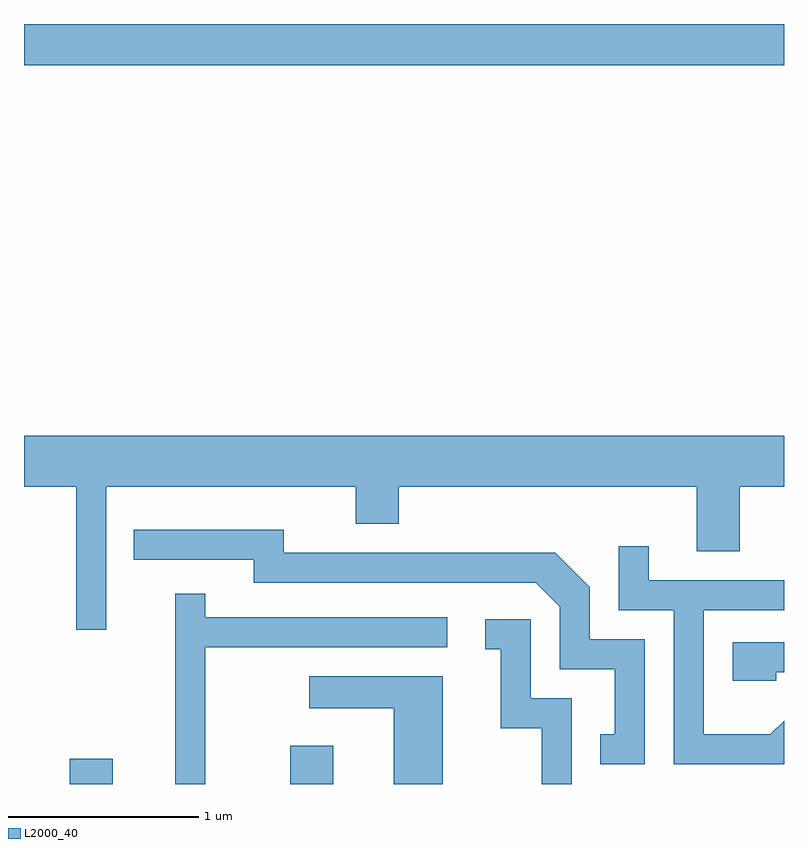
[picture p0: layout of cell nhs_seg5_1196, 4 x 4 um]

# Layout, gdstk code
import gdstk
lib = gdstk.Library(unit=1e-6, precision=1e-09)
def R(c, l, rs):  # rectangles x0, y0, x1, y1
    for r in rs: c.add(gdstk.rectangle(r[:2], r[2:], *l))
def P(c, l, *ps):  # polygons
    for p in ps: c.add(gdstk.Polygon(p, *l))
L2000_40 = (2000, 40)

nhs_seg5_1196 = lib.new_cell('nhs_seg5_1196')
R(nhs_seg5_1196, L2000_40, [(219.851,1504.072,220.079,1504.204), (221.011,1504.072,221.239,1504.274), (219.611,1507.856,223.611,1508.072)])
P(nhs_seg5_1196, L2000_40, [(220.044,1505.636),(221.356,1505.636),(221.356,1505.441),(221.584,1505.441),(221.584,1505.636),(223.151,1505.636),(223.151,1505.296),(223.379,1505.296),(223.379,1505.636),(223.611,1505.636),(223.611,1505.904),(219.611,1505.904),(219.611,1505.636),(219.886,1505.636),(219.886,1504.883),(220.044,1504.883)],
  [(222.879,1504.834),(222.589,1504.834),(222.589,1505.107),(222.407,1505.289),(220.979,1505.289),(220.979,1505.409),(220.188,1505.409),(220.188,1505.251),(220.821,1505.251),(220.821,1505.131),(222.304,1505.131),(222.431,1505.004),(222.431,1504.676),(222.721,1504.676),(222.721,1504.334),(222.643,1504.334),(222.643,1504.176),(222.879,1504.176)],
  [(223.611,1504.406),(223.539,1504.334),(223.189,1504.334),(223.189,1504.986),(223.611,1504.986),(223.611,1505.144),(222.899,1505.144),(222.899,1505.323),(222.741,1505.323),(222.741,1504.986),(223.031,1504.986),(223.031,1504.176),(223.611,1504.176)],
  [(220.564,1504.791),(221.838,1504.791),(221.838,1504.949),(220.564,1504.949),(220.564,1505.073),(220.406,1505.073),(220.406,1504.072),(220.564,1504.072)],
  [(222.494,1504.524),(222.279,1504.524),(222.279,1504.939),(222.038,1504.939),(222.038,1504.781),(222.121,1504.781),(222.121,1504.366),(222.336,1504.366),(222.336,1504.072),(222.494,1504.072)],
  [(223.569,1504.661),(223.611,1504.661),(223.611,1504.819),(223.341,1504.819),(223.341,1504.616),(223.569,1504.616)],
  [(221.814,1504.639),(221.113,1504.639),(221.113,1504.471),(221.556,1504.471),(221.556,1504.072),(221.814,1504.072)])

lib.write_gds('nhs_seg5_1196.gds')
